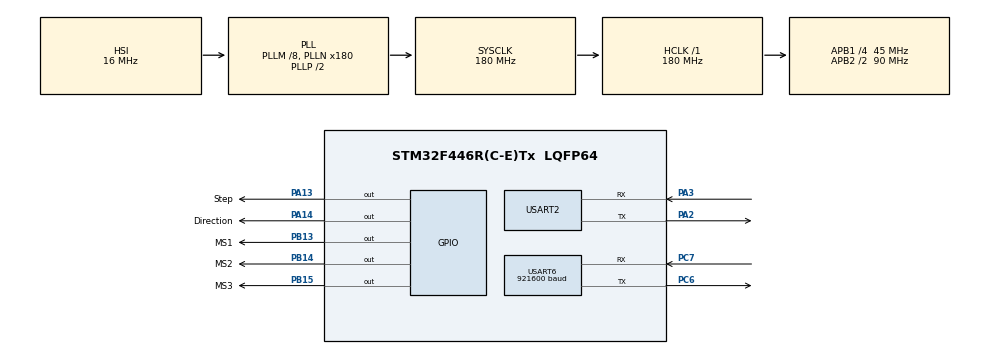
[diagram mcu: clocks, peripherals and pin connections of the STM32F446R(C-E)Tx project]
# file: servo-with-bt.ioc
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FREERTOS.HEAP_NUMBER=5
FREERTOS.Queues01=rotationQueue,360,double,0,Dynamic,NULL,NULL
FREERTOS.Tasks01=servoControlTask,24,512,StartServoControl,As weak,NULL,Dynamic,NULL,NULL;uartPollTask,24,512,StartUartPoll,As weak,NULL,Dynamic,NULL,NULL;uartSendTask,24,512,StartUartSend,As weak,NULL,Dynamic,NULL,NULL;servoAutoControl,24,512,StartServoAutoControl,As weak,NULL,Dynamic,NULL,NULL
FREERTOS.configMAX_TASK_NAME_LEN=32
FREERTOS.configMINIMAL_STACK_SIZE=512
FREERTOS.configTICK_RATE_HZ=1000
Mcu.Family=STM32F4
Mcu.Name=STM32F446R(C-E)Tx
Mcu.Package=LQFP64
NVIC.PriorityGroup=NVIC_PRIORITYGROUP_4
NVIC.TIM6_DAC_IRQn=true\:15\:0\:false\:false\:true\:false\:false\:true\:true
NVIC.TimeBase=TIM6_DAC_IRQn
NVIC.TimeBaseIP=TIM6
PA13.GPIO_Label=Step
PA13.Signal=GPIO_Output
PA14.GPIO_Label=Direction
PA14.Signal=GPIO_Output
PA2.Mode=Asynchronous
PA2.Signal=USART2_TX
PA3.Mode=Asynchronous
PA3.Signal=USART2_RX
PB13.GPIO_Label=MS1
PB13.Signal=GPIO_Output
PB14.GPIO_Label=MS2
PB14.Signal=GPIO_Output
PB15.GPIO_Label=MS3
PB15.Signal=GPIO_Output
PC6.Mode=Asynchronous
PC6.Signal=USART6_TX
PC7.Mode=Asynchronous
PC7.Signal=USART6_RX
PH0-OSC_IN.Mode=HSE-External-Oscillator
PH0-OSC_IN.Signal=RCC_OSC_IN
PH1-OSC_OUT.Mode=HSE-External-Oscillator
PH1-OSC_OUT.Signal=RCC_OSC_OUT
ProjectManager.HeapSize=0x200
ProjectManager.StackSize=0x400
ProjectManager.TargetToolchain=STM32CubeIDE
RCC.AHBFreq_Value=180000000
RCC.APB1CLKDivider=RCC_HCLK_DIV4
RCC.APB1Freq_Value=45000000
RCC.APB1TimFreq_Value=90000000
RCC.APB2CLKDivider=RCC_HCLK_DIV2
RCC.APB2Freq_Value=90000000
RCC.APB2TimFreq_Value=180000000
RCC.CortexFreq_Value=180000000
RCC.HCLKFreq_Value=180000000
RCC.PLLM=8
RCC.PLLN=180
RCC.SYSCLKFreq_VALUE=180000000
RCC.SYSCLKSource=RCC_SYSCLKSOURCE_PLLCLK
RCC.USBFreq_Value=180000000
RCC.VCOOutputFreq_Value=360000000
USART2.VirtualMode=VM_ASYNC
USART6.BaudRate=921600
USART6.VirtualMode=VM_ASYNC
VP_FREERTOS_VS_CMSIS_V2.Mode=CMSIS_V2
VP_SYS_VS_tim6.Mode=TIM6
board=custom

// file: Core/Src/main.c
/* USER CODE BEGIN Header */
/**
  ******************************************************************************
  * @file           : main.c
  * @brief          : Main program body
  ******************************************************************************
  * @attention
  *
  * Copyright (c) 2022 STMicroelectronics.
  * All rights reserved.
  *
  * This software is licensed under terms that can be found in the LICENSE file
  * in the root directory of this software component.
  * If no LICENSE file comes with this software, it is provided AS-IS.
  *
  ******************************************************************************
  */
/* USER CODE END Header */
#include "main.h"
#include "cmsis_os.h"

/* USER CODE BEGIN Includes */
#include <stdio.h>
/* USER CODE END Includes */

 UART_HandleTypeDef huart2;
UART_HandleTypeDef huart6;

/* Definitions for servoControlTask */
osThreadId_t servoControlTaskHandle;
const osThreadAttr_t servoControlTask_attributes = {
  .name = "servoControlTask",
  .stack_size = 512 * 4,
  .priority = (osPriority_t) osPriorityNormal,
};
/* Definitions for uartPollTask */
osThreadId_t uartPollTaskHandle;
const osThreadAttr_t uartPollTask_attributes = {
  .name = "uartPollTask",
  .stack_size = 512 * 4,
  .priority = (osPriority_t) osPriorityNormal,
};
/* Definitions for uartSendTask */
osThreadId_t uartSendTaskHandle;
const osThreadAttr_t uartSendTask_attributes = {
  .name = "uartSendTask",
  .stack_size = 512 * 4,
  .priority = (osPriority_t) osPriorityNormal,
};
/* Definitions for servoAutoControl */
osThreadId_t servoAutoControlHandle;
const osThreadAttr_t servoAutoControl_attributes = {
  .name = "servoAutoControl",
  .stack_size = 512 * 4,
  .priority = (osPriority_t) osPriorityNormal,
};
/* Definitions for rotationQueue */
osMessageQueueId_t rotationQueueHandle;
const osMessageQueueAttr_t rotationQueue_attributes = {
  .name = "rotationQueue"
};
/* USER CODE BEGIN PV */
#ifdef __GNUC__
#define PUTCHAR_PROTOTYPE int __io_putchar(int ch)
#else
#define PUTCHAR_PROTOTYPE int fputc(int ch, FILE *f)
#endif /* __GNUC__ */
PUTCHAR_PROTOTYPE
{
	while (HAL_UART_Transmit(&huart2, (uint8_t *)&ch, 1, 10) != HAL_OK) {};
	return ch;
}

#ifdef __GNUC__
#define GETCHAR_PROTOTYPE int __io_getchar (void)
#else
#define GETCHAR_PROTOTYPE int fgetc(FILE * f)
#endif /* __GNUC__ */
GETCHAR_PROTOTYPE
{
	uint8_t ch = 0;
	// Clear the Overrun flag just before receiving the first character
	__HAL_UART_CLEAR_OREFLAG(&huart2);
	HAL_UART_Receive(&huart2, (uint8_t *)&ch, 1, 0xFFFF);
	while (HAL_UART_Transmit(&huart2, (uint8_t *)&ch, 1, 10) != HAL_OK) {};
	return ch;
}
/* USER CODE END PV */

void SystemClock_Config(void);
static void MX_GPIO_Init(void);
static void MX_USART6_UART_Init(void);
static void MX_USART2_UART_Init(void);
void StartServoControl(void *argument);
void StartUartPoll(void *argument);
void StartUartSend(void *argument);
void StartServoAutoControl(void *argument);

int main(void)
{

  /* MCU Configuration--------------------------------------------------------*/

  /* Reset of all peripherals, Initializes the Flash interface and the Systick. */
  HAL_Init();

  /* Configure the system clock */
  SystemClock_Config();

  /* Initialize all configured peripherals */
  MX_GPIO_Init();
  MX_USART2_UART_Init();
  /* USER CODE BEGIN 2 */
  //MX_DMA_Init();
  MX_USART6_UART_Init();

  HAL_Delay(1000);

  /* USER CODE END 2 */

  /* Init scheduler */
  osKernelInitialize();

  /* Create the queue(s) */
  /* creation of rotationQueue */
  rotationQueueHandle = osMessageQueueNew (360, sizeof(double), &rotationQueue_attributes);

  /* Create the thread(s) */
  /* creation of servoControlTask */
  servoControlTaskHandle = osThreadNew(StartServoControl, NULL, &servoControlTask_attributes);

  /* creation of uartPollTask */
  uartPollTaskHandle = osThreadNew(StartUartPoll, NULL, &uartPollTask_attributes);

  /* creation of uartSendTask */
  uartSendTaskHandle = osThreadNew(StartUartSend, NULL, &uartSendTask_attributes);

  /* creation of servoAutoControl */
  servoAutoControlHandle = osThreadNew(StartServoAutoControl, NULL, &servoAutoControl_attributes);

  /* Start scheduler */
  osKernelStart();

  /* We should never get here as control is now taken by the scheduler */
  /* Infinite loop */
  while (1)
  {

  }
}

void SystemClock_Config(void)
{
  RCC_OscInitTypeDef RCC_OscInitStruct = {0};
  RCC_ClkInitTypeDef RCC_ClkInitStruct = {0};

  /** Configure the main internal regulator output voltage
  */
  __HAL_RCC_PWR_CLK_ENABLE();
  __HAL_PWR_VOLTAGESCALING_CONFIG(PWR_REGULATOR_VOLTAGE_SCALE1);

  /** Initializes the RCC Oscillators according to the specified parameters
  * in the RCC_OscInitTypeDef structure.
  */
  RCC_OscInitStruct.OscillatorType = RCC_OSCILLATORTYPE_HSI;
  RCC_OscInitStruct.HSIState = RCC_HSI_ON;
  RCC_OscInitStruct.HSICalibrationValue = RCC_HSICALIBRATION_DEFAULT;
  RCC_OscInitStruct.PLL.PLLState = RCC_PLL_ON;
  RCC_OscInitStruct.PLL.PLLSource = RCC_PLLSOURCE_HSI;
  RCC_OscInitStruct.PLL.PLLM = 8;
  RCC_OscInitStruct.PLL.PLLN = 180;
  RCC_OscInitStruct.PLL.PLLP = RCC_PLLP_DIV2;
  RCC_OscInitStruct.PLL.PLLQ = 2;
  RCC_OscInitStruct.PLL.PLLR = 2;
  if (HAL_RCC_OscConfig(&RCC_OscInitStruct) != HAL_OK)
  {
    Error_Handler();
  }

  /** Activate the Over-Drive mode
  */
  if (HAL_PWREx_EnableOverDrive() != HAL_OK)
  {
    Error_Handler();
  }

  /** Initializes the CPU, AHB and APB buses clocks
  */
  RCC_ClkInitStruct.ClockType = RCC_CLOCKTYPE_HCLK|RCC_CLOCKTYPE_SYSCLK
                              |RCC_CLOCKTYPE_PCLK1|RCC_CLOCKTYPE_PCLK2;
  RCC_ClkInitStruct.SYSCLKSource = RCC_SYSCLKSOURCE_PLLCLK;
  RCC_ClkInitStruct.AHBCLKDivider = RCC_SYSCLK_DIV1;
  RCC_ClkInitStruct.APB1CLKDivider = RCC_HCLK_DIV4;
  RCC_ClkInitStruct.APB2CLKDivider = RCC_HCLK_DIV2;

  if (HAL_RCC_ClockConfig(&RCC_ClkInitStruct, FLASH_LATENCY_5) != HAL_OK)
  {
    Error_Handler();
  }
}

static void MX_USART2_UART_Init(void)
{

  huart2.Instance = USART2;
  huart2.Init.BaudRate = 115200;
  huart2.Init.WordLength = UART_WORDLENGTH_8B;
  huart2.Init.StopBits = UART_STOPBITS_1;
  huart2.Init.Parity = UART_PARITY_NONE;
  huart2.Init.Mode = UART_MODE_TX_RX;
  huart2.Init.HwFlowCtl = UART_HWCONTROL_NONE;
  huart2.Init.OverSampling = UART_OVERSAMPLING_16;
  if (HAL_UART_Init(&huart2) != HAL_OK)
  {
    Error_Handler();
  }

}

static void MX_USART6_UART_Init(void)
{

  huart6.Instance = USART6;
  huart6.Init.BaudRate = 921600;
  huart6.Init.WordLength = UART_WORDLENGTH_8B;
  huart6.Init.StopBits = UART_STOPBITS_1;
  huart6.Init.Parity = UART_PARITY_NONE;
  huart6.Init.Mode = UART_MODE_TX_RX;
  huart6.Init.HwFlowCtl = UART_HWCONTROL_NONE;
  huart6.Init.OverSampling = UART_OVERSAMPLING_16;
  if (HAL_UART_Init(&huart6) != HAL_OK)
  {
    Error_Handler();
  }

}

static void MX_GPIO_Init(void)
{
  GPIO_InitTypeDef GPIO_InitStruct = {0};

  /* GPIO Ports Clock Enable */
  __HAL_RCC_GPIOH_CLK_ENABLE();
  __HAL_RCC_GPIOA_CLK_ENABLE();
  __HAL_RCC_GPIOB_CLK_ENABLE();
  __HAL_RCC_GPIOC_CLK_ENABLE();

  /*Configure GPIO pin Output Level */
  HAL_GPIO_WritePin(GPIOB, MS1_Pin|MS2_Pin|MS3_Pin, GPIO_PIN_RESET);

  /*Configure GPIO pin Output Level */
  HAL_GPIO_WritePin(GPIOA, Step_Pin|Direction_Pin, GPIO_PIN_RESET);

  /*Configure GPIO pins : MS1_Pin MS2_Pin MS3_Pin */
  GPIO_InitStruct.Pin = MS1_Pin|MS2_Pin|MS3_Pin;
  GPIO_InitStruct.Mode = GPIO_MODE_OUTPUT_PP;
  GPIO_InitStruct.Pull = GPIO_NOPULL;
  GPIO_InitStruct.Speed = GPIO_SPEED_FREQ_LOW;
  HAL_GPIO_Init(GPIOB, &GPIO_InitStruct);

  /*Configure GPIO pins : Step_Pin Direction_Pin */
  GPIO_InitStruct.Pin = Step_Pin|Direction_Pin;
  GPIO_InitStruct.Mode = GPIO_MODE_OUTPUT_PP;
  GPIO_InitStruct.Pull = GPIO_NOPULL;
  GPIO_InitStruct.Speed = GPIO_SPEED_FREQ_LOW;
  HAL_GPIO_Init(GPIOA, &GPIO_InitStruct);

}

__weak void StartServoControl(void *argument)
{
  for(;;)
  {
    osDelay(1);
  }
}

__weak void StartUartPoll(void *argument)
{
	for(;;)
	{
	  osDelay(1);
	}
}

__weak void StartUartSend(void *argument)
{
  for(;;)
  {
    osDelay(1);
  }
}

__weak void StartServoAutoControl(void *argument)
{
  for(;;)
  {
    osDelay(1);
  }
}

void HAL_TIM_PeriodElapsedCallback(TIM_HandleTypeDef *htim)
{
  if (htim->Instance == TIM6) {
    HAL_IncTick();
  }
}

void Error_Handler(void)
{
  __disable_irq();
  while (1)
  {
  }
}

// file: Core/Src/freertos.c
/* USER CODE BEGIN Header */
/**
  ******************************************************************************
  * File Name          : freertos.c
  * Description        : Code for freertos applications
  ******************************************************************************
  * @attention
  *
  * Copyright (c) 2022 STMicroelectronics.
  * All rights reserved.
  *
  * This software is licensed under terms that can be found in the LICENSE file
  * in the root directory of this software component.
  * If no LICENSE file comes with this software, it is provided AS-IS.
  *
  ******************************************************************************
  */
/* USER CODE END Header */

#include "FreeRTOS.h"
#include "task.h"
#include "main.h"

/* USER CODE BEGIN Includes */
#include "cmsis_os.h"
#include <string.h>
#include <stdlib.h>
#include <math.h>
#include <memory.h>
#include <stdio.h>
/* USER CODE END Includes */

/* USER CODE BEGIN PD */
extern UART_HandleTypeDef huart2;
extern UART_HandleTypeDef huart6;
extern osMessageQueueId_t rotationQueueHandle;
extern osMutexId_t configParamsMutexHandle;
extern osThreadId_t servoAutoControlHandle;
/* USER CODE END PD */

/* USER CODE BEGIN PM */
#define SERVO_QUARTER_STEP 	(0.45)	// Has some issues due to the fact that QML app uses 1 precision integer
#define SERVO_HALF_STEP  	(0.9)
#define SERVO_FULL_STEP  	(1.8)

typedef enum ServoStates {
	SERVO_STATE_IDLE = 0,
	SERVO_STATE_RUNNING,
} ServoStates;
/* USER CODE END PM */

/* USER CODE BEGIN Variables */
static uint8_t rxDataFromBt[50] = {0};
static uint8_t txDataToBt[50] = {0};

// 0.45, 0.9 and 1.8 possible step sizes
static double gStepSize = SERVO_FULL_STEP;

// How much delay between low and high voltages in servo motor
static uint16_t gStepSpeed = 1;

// If enabled then cant control manually, automatically scans configured area
static bool gAutomaticControlEnabled = false;

// Goes from 0 to 180 degrees continously
static double gAreaToScan = 180.0;

static ServoStates servoState = SERVO_STATE_IDLE;

/* USER CODE END Variables */

/* USER CODE BEGIN Application */

static void servoOneStep()
{
  HAL_GPIO_WritePin(GPIOA, GPIO_PIN_13, GPIO_PIN_SET);
  osDelay(gStepSpeed);
  HAL_GPIO_WritePin(GPIOA, GPIO_PIN_13, GPIO_PIN_RESET);
  osDelay(gStepSpeed);
}

static void servoSetClockwiseDirection()
{
	HAL_GPIO_WritePin(GPIOA, GPIO_PIN_14, GPIO_PIN_RESET);
}

static void servoSetCounterClockwiseDirection()
{
	HAL_GPIO_WritePin(GPIOA, GPIO_PIN_14, GPIO_PIN_SET);
}

static void servoReverseDirection()
{
	HAL_GPIO_TogglePin(Direction_GPIO_Port, Direction_Pin);
}

static void setQuarterStep()
{
	HAL_GPIO_WritePin(MS1_GPIO_Port, MS1_Pin, GPIO_PIN_RESET);
	HAL_GPIO_WritePin(MS2_GPIO_Port, MS2_Pin, GPIO_PIN_SET);
	HAL_GPIO_WritePin(MS3_GPIO_Port, MS3_Pin, GPIO_PIN_RESET);
}

static void setHalfStep()
{
	HAL_GPIO_WritePin(MS1_GPIO_Port, MS1_Pin, GPIO_PIN_SET);
	HAL_GPIO_WritePin(MS2_GPIO_Port, MS2_Pin, GPIO_PIN_RESET);
	HAL_GPIO_WritePin(MS3_GPIO_Port, MS3_Pin, GPIO_PIN_RESET);
}

static void setFullStep()
{
	HAL_GPIO_WritePin(MS1_GPIO_Port, MS1_Pin, GPIO_PIN_RESET);
	HAL_GPIO_WritePin(MS2_GPIO_Port, MS2_Pin, GPIO_PIN_RESET);
	HAL_GPIO_WritePin(MS3_GPIO_Port, MS3_Pin, GPIO_PIN_RESET);
}

void setStepSize()
{
	if (gStepSize == SERVO_QUARTER_STEP)
	{
		printf("Set 1/4 step\r\n");
		setQuarterStep();
	}
	else if (gStepSize == SERVO_HALF_STEP)
	{
		printf("Set 1/2 step\r\n");
		setHalfStep();
	}
	else if (gStepSize == SERVO_FULL_STEP)
	{
		printf("Set 1 step\r\n");
		setFullStep();
	}
	else
	{
		printf("Set default step\r\n");
		setFullStep();
	}
}

static void processAndSetServoParams(uint8_t *data, uint8_t size)
{
	uint8_t *curData = data;
	uint8_t buffer[7] = {0};

	// stepSize 4, stepSpeed 3, isAutomatic 1, scannableArea 6, CR 1, LF 1
	memcpy(buffer, curData, 4);
	gStepSize = atof((char*)buffer);
	curData += 4;

	memset(buffer, 0, 7);
	memcpy(buffer, curData, 3);
	gStepSpeed = atoi((char*)buffer);
	curData += 3;

	gAutomaticControlEnabled = curData[0] == '1' ? true : false;
	curData++;

	memset(buffer, 0, 7);
	memcpy(buffer, curData, 6);
	gAreaToScan = atof((char*)buffer);

	setStepSize();

	printf("stepSize: %f\r\n", gStepSize);
	printf("stepSpeed: %d\r\n", gStepSpeed);
	printf("automaticControlEnabled: %d\r\n", gAutomaticControlEnabled);
	printf("areaToScan: %f\r\n", gAreaToScan);
}

void StartUartSend(void *argument)
{
	for(;;)
	{
		osThreadSuspend(osThreadGetId());
	}
}

void StartServoControl(void *argument)
{
  /* USER CODE BEGIN 5 */
	double currentRotation = 0.0;
	double newRotation = 0.0;
	double stepsToTake = 0.0;
	uint16_t i = 0;
  /* Infinite loop */
  for(;;)
  {
	  osMessageQueueGet(rotationQueueHandle, &newRotation, NULL, osWaitForever);
	  servoState = SERVO_STATE_RUNNING;
	  stepsToTake = fabs((double)(newRotation - currentRotation) / gStepSize);

	  if (stepsToTake > (MAX_DEGREES / gStepSize) / 2)
	  {
		  stepsToTake = (MAX_DEGREES / gStepSize) - stepsToTake;
		  if (newRotation > currentRotation)
		  {
			  servoSetCounterClockwiseDirection();
		  }
		  else
		  {
			  servoSetClockwiseDirection();
		  }
	  }
	  else if (newRotation < currentRotation)
	  {
		  servoSetCounterClockwiseDirection();
	  }
	  else
	  {
		  servoSetClockwiseDirection();
	  }

	  for (i = 0; i < stepsToTake; i++)
	  {
		  servoOneStep();
	  }

	  servoState = SERVO_STATE_IDLE;

	  printf("%f %f %f\r\n", currentRotation, newRotation, stepsToTake);

	  currentRotation = newRotation;
  }
  /* USER CODE END 5 */
}

void StartServoAutoControl(void *argument)
{
	uint32_t flags = 0;
	uint16_t i = 0;

	for (;;)
	{
		flags = osThreadFlagsGet(); // TODO: why is this call required
		//printf ("%lu\r\n", flags);
		flags = osThreadFlagsWait(0x03U, osFlagsWaitAny | osFlagsNoClear, osWaitForever);

		if (flags & 0x02U)
		{
			printf ("Clearing flags\r\n");
			osThreadFlagsClear(0x03U);
		}

		if (flags & 0x01)
		{
			//printf ("Auto ctrl\r\n");
			if (gAreaToScan == 0.0)
			{
				// The same location always
				// Do nothing
			}
			else if (gAreaToScan == 360.0)
			{
				servoState = SERVO_STATE_RUNNING;

				// Rotate endlessly in circles
				for (i = 0; i < MAX_DEGREES / gStepSize; i++)
				{
					servoOneStep();
					// TODO: check flags here
					// and if flag 0x02 is set then end and clear
				}
			}
			else
			{
				servoState = SERVO_STATE_RUNNING;

				for (i = 0; i < gAreaToScan / gStepSize; i++)
				{
					servoOneStep();
					// TODO: check flags here
					// and if flag 0x02 is set then end and clear
				}

				servoReverseDirection();
			}

			servoState = SERVO_STATE_IDLE;
		}

		//osDelay(1000);
	}
}

void StartUartPoll(void *argument)
{
  /* USER CODE BEGIN StartUartPoll */
	uint16_t rxLen;
	osStatus_t status;

	// The rotation to set on a servo motor
	double targetRotation = 0.;

  /* Infinite loop */
	for(;;)
	{
		HAL_UARTEx_ReceiveToIdle(&huart6, rxDataFromBt, 17, &rxLen, 0xFFFFFFFF);

		// 7F is a start byte for config info
		if (rxDataFromBt[0] == 0x7F)
		{
			printf ("7F\r\n");
			if (gAutomaticControlEnabled == false)
			{
				targetRotation = 0.0;
				osMessageQueuePut(rotationQueueHandle, &targetRotation, 0U, 0U);

				// Process already queued elements
				while (osMessageQueueGetCount(rotationQueueHandle) != 0)
				{
					printf ("Waiting for Servo finished...\r\n");
					osDelay(10);
				}
			}
			else
			{
				osThreadFlagsSet(servoAutoControlHandle, 0x02U);
			}

			osDelay(5);
			while (servoState != SERVO_STATE_IDLE)
			{
				printf ("Waiting for Servo Idle...\r\n");
				osDelay(10);
			}

			// Set new params
			processAndSetServoParams(&rxDataFromBt[1], rxLen - 1 - 2);

			if (gAutomaticControlEnabled == true)
			{
				osThreadFlagsSet(servoAutoControlHandle, 0x01U);
			}
			else
			{
				osThreadFlagsSet(servoAutoControlHandle, 0x02U);
			}

			txDataToBt[0] = 'O';
			txDataToBt[1] = 'K';
			txDataToBt[2] = '\r';
			txDataToBt[3] = '\n';
			while (HAL_UART_Transmit(&huart6, (uint8_t*)txDataToBt, 4, 3000) != HAL_OK);
		}
		else
		{
			if (gAutomaticControlEnabled == false)
			{
				targetRotation = atof((char*)rxDataFromBt);
				//printf ("%f\r\n", targetRotation);
				if (targetRotation < 0.0 || targetRotation > 360.0)
				{
					continue;
				}

				if ( (status = osMessageQueuePut(rotationQueueHandle, &targetRotation, 0U, 0U)) != osOK)
				{
					printf("status: %d\r\n", status);
				}
			}
		}
	}
  /* USER CODE END StartUartPoll */
}

/* USER CODE END Application */
